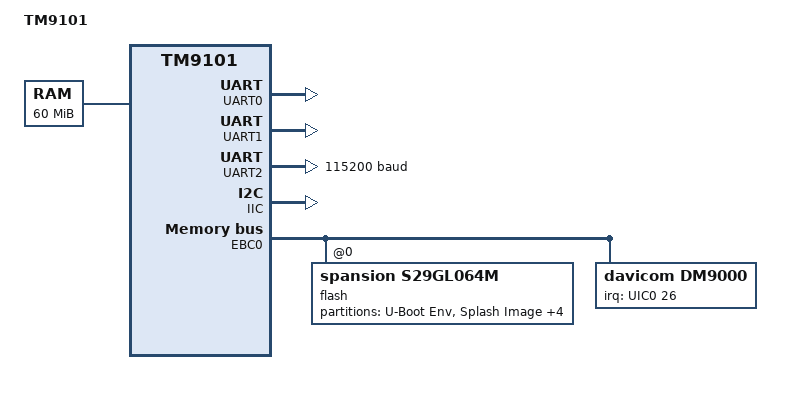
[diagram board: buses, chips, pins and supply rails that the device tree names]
/*
 * Device Tree Source for Technomate TM9101
 *
 * Copyright 2008 Tom3q
 *
 *
 * This file is licensed under the terms of the GNU General Public
 * License version 2.  This program is licensed "as is" without
 * any warranty of any kind, whether express or implied.
 */

/dts-v1/;

/ {
	#address-cells = <1>;
	#size-cells = <1>;
	model = "TM9101";
	compatible = "ibm,stbx25xx", "technomate,tm9101";
	dcr-parent = <&{/cpus/cpu@0}>;

	aliases {
		serial0 = &UART0;
		serial1 = &UART1;
		serial2 = &UART2;
	};

	cpus {
		#address-cells = <1>;
		#size-cells = <0>;

		cpu@0 {
			device_type = "cpu";
			model = "PowerPC,STBx25xx";
			reg = <0x00000000>;
			clock-frequency = <252000000>; /* Filled in by zImage */
			timebase-frequency = <27000000>; /* Filled in by zImage */
			i-cache-line-size = <32>;
			d-cache-line-size = <32>;
			i-cache-size = <16384>;
			d-cache-size = <16384>;
			dcr-controller;
			dcr-access-method = "native";
		};
	};

	memory {
		device_type = "memory";
		reg = <0x00000000 0x03c00000>;
	};

	UIC0: interrupt-controller {
		compatible = "ibm,uic";
		interrupt-controller;
		cell-index = <0>;
		dcr-reg = <0x040 0x009>;
		#address-cells = <0>;
		#size-cells = <0>;
		#interrupt-cells = <2>;
	};

	plb {
		compatible = "ibm,plb3";
		#address-cells = <1>;
		#size-cells = <1>;
		ranges;
		clock-frequency = <63000000>; /* Filled in by zImage */

		POB0: opb {
			compatible = "ibm,opb-stbx25xx", "ibm,opb";
			#address-cells = <1>;
			#size-cells = <1>;
			ranges = <0x40000000 0x40000000 0x00100000>;
			dcr-reg = <0x054 0x013 0x0b0 0x003>;
			clock-frequency = <0>; /* Filled in by zImage */

			UART0: serial@40040000 {
				device_type = "serial";
				compatible = "ns16550";
				reg = <0x40040000 0x00000008>;
				clock-frequency = <21000000>; /* Filled in by zImage */
				interrupt-parent = <&UIC0>;
				interrupts = <20 4>;
			};

			UART1: serial@40000000 {
				device_type = "serial";
				compatible = "ns16550";
				reg = <0x40000000 0x00000008>;
				clock-frequency = <21000000>; /* Filled in by zImage */
				interrupt-parent = <&UIC0>;
				interrupts = <21 4>;
			};
			
			UART2: serial@40010000 {
				device_type = "serial";
				compatible = "ns16550";
				reg = <0x40010000 0x00000008>;
				clock-frequency = <21000000>; /* Filled in by zImage */
				current-speed = <115200>;
				interrupt-parent = <&UIC0>;
				interrupts = <22 4>;
			};

			IIC: i2c@40030000 {
				compatible = "ibm,iic-stbx25xx";
				reg = <0x40030000 0x00000010>;
				interrupt-parent = <&UIC0>;
				interrupts = <9 4>;
			};

			GPIO: gpio@40060000 {
				compatible = "ibm,ppc4xx-gpio";
				reg = <0x40060000 0x00000020>;
			};
			
			dvb@0 {
				compatible = "ibm,stbx25xx-dvb";
				interrupt-parent = <&UIC0>;
				interrupts = <1 4 2 4 3 4 23 4>;
			};

		};

		EBC0: ebc {
			compatible = "ibm,ebc-stbx25xx", "ibm,ebc";
			dcr-reg = <0x070 0x02b>;
			#address-cells = <2>;
			#size-cells = <1>;
			/* The ranges property is supplied by the bootwrapper
			 * and is based on the firmware's configuration of the
			 * EBC bridge
			 */
			clock-frequency = <63000000>; /* Filled in by zImage */

			flash@0,ff000000 {
				compatible = "spansion,s29gl064m", "cfi-flash";
				bank-width = <2>;
				reg = <0x00000000 0xff000000 0x01000000>;
				#address-cells = <1>;
				#size-cells = <1>;
				partition@0 {
					label = "U-Boot Env";
					reg = <0x00000000 0x0000e000>;
				};
				partition@1 {
					label = "Splash Image";
					reg = <0x00010000 0x00020000>;
				};					
				partition@2 {
					label = "Kernel";
					reg = <0x00030000 0x001d0000>;
				};
				partition@3 {
					label = "RootFS";
					reg = <0x00200000 0x00dd0000>;
				};
				partition@4 {
					label = "U-Boot";
					reg = <0x00fd0000 0x00030000>;
					read-only;
				};
				partition@5 { /* Should be @1, but is @5 to be compatible with old images */
					label = "Device Tree";
					reg = <0x0000e000 0x00002000>;
				};
			};

			dm9000@0,f2000000 {
				compatible = "davicom,dm9000";
				interrupt-parent = <&UIC0>;
				interrupts = <26 8>;
			};
		};
	};

	chosen {
		linux,stdout-path = "/plb/opb/serial@40010000";
	};
};
